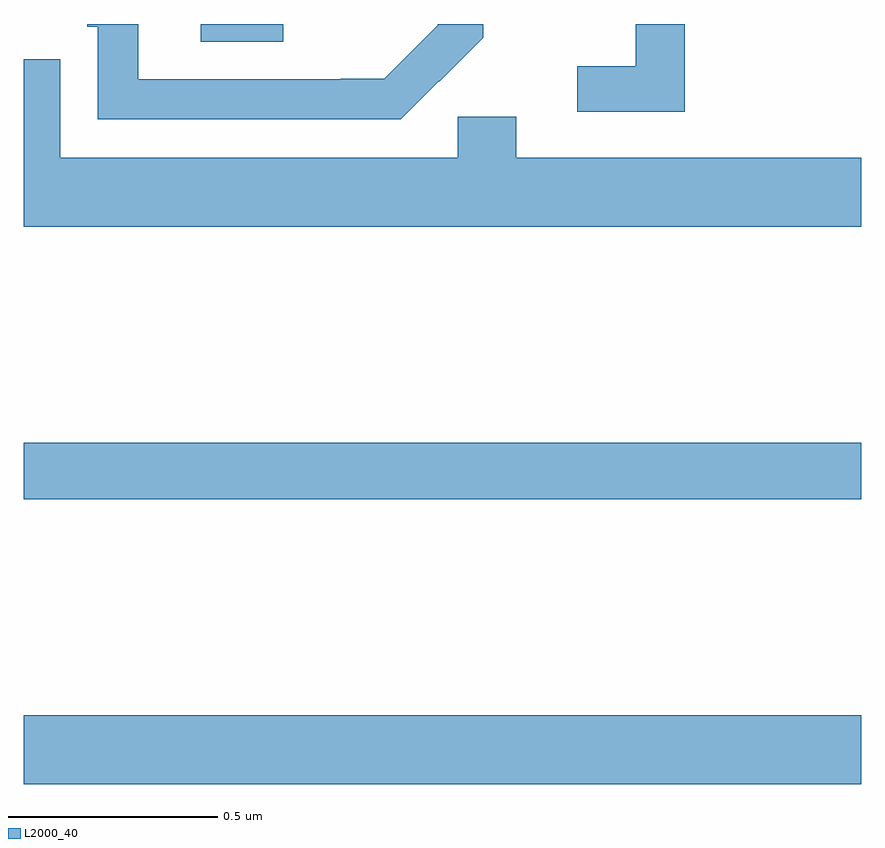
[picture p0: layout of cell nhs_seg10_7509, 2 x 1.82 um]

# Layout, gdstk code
import gdstk
lib = gdstk.Library(unit=1e-6, precision=1e-09)
def R(c, l, rs):  # rectangles x0, y0, x1, y1
    for r in rs: c.add(gdstk.rectangle(r[:2], r[2:], *l))
def P(c, l, *ps):  # polygons
    for p in ps: c.add(gdstk.Polygon(p, *l))
L2000_40 = (2000, 40)

nhs_seg10_7509 = lib.new_cell('nhs_seg10_7509')
R(nhs_seg10_7509, L2000_40, [(205,1265.684,207,1265.848), (205,1266.364,207,1266.5), (205.422,1267.458,205.62,1267.5)])
P(nhs_seg10_7509, L2000_40, [(206.579,1267.5),(206.462,1267.5),(206.462,1267.399),(206.322,1267.399),(206.322,1267.29),(206.579,1267.29)],
  [(205.991,1267.363),(205.992,1267.362),(206.097,1267.467),(206.097,1267.5),(205.989,1267.5),(205.989,1267.497),(205.861,1267.369),(205.757,1267.369),(205.757,1267.368),(205.273,1267.368),(205.273,1267.5),(205.151,1267.5),(205.151,1267.494),(205.176,1267.494),(205.176,1267.272),(205.9,1267.272)],
  [(207,1267.18),(206.176,1267.18),(206.176,1267.278),(206.037,1267.278),(206.037,1267.18),(205.087,1267.18),(205.087,1267.416),(205,1267.416),(205,1267.016),(207,1267.016)])

lib.write_gds('nhs_seg10_7509.gds')
